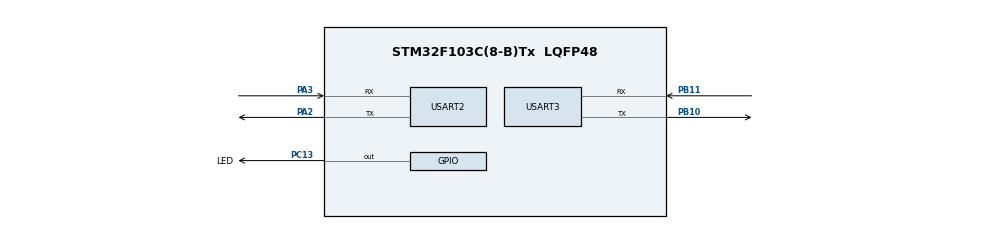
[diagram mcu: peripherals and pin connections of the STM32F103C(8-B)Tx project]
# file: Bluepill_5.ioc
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Dma.Request0=USART3_RX
Dma.USART3_RX.0.Direction=DMA_PERIPH_TO_MEMORY
Dma.USART3_RX.0.Instance=DMA1_Channel3
Dma.USART3_RX.0.MemDataAlignment=DMA_MDATAALIGN_BYTE
Dma.USART3_RX.0.MemInc=DMA_MINC_ENABLE
Dma.USART3_RX.0.Mode=DMA_NORMAL
Dma.USART3_RX.0.PeriphDataAlignment=DMA_PDATAALIGN_BYTE
Dma.USART3_RX.0.PeriphInc=DMA_PINC_DISABLE
Dma.USART3_RX.0.Priority=DMA_PRIORITY_LOW
Mcu.Family=STM32F1
Mcu.Name=STM32F103C(8-B)Tx
Mcu.Package=LQFP48
NVIC.DMA1_Channel3_IRQn=true\:0\:0\:false\:false\:true\:false\:true\:true
NVIC.PriorityGroup=NVIC_PRIORITYGROUP_4
NVIC.TIM3_IRQn=true\:0\:0\:false\:false\:true\:true\:true\:true
PA13.Mode=Serial_Wire
PA13.Signal=SYS_JTMS-SWDIO
PA14.Mode=Serial_Wire
PA14.Signal=SYS_JTCK-SWCLK
PA2.Mode=Asynchronous
PA2.Signal=USART2_TX
PA3.Mode=Asynchronous
PA3.Signal=USART2_RX
PB10.Mode=Asynchronous
PB10.Signal=USART3_TX
PB11.Mode=Asynchronous
PB11.Signal=USART3_RX
PC13-TAMPER-RTC.GPIO_Label=LED
PC13-TAMPER-RTC.GPIO_ModeDefaultOutputPP=GPIO_MODE_OUTPUT_OD
PC13-TAMPER-RTC.GPIO_PuPd=GPIO_PULLUP
PC13-TAMPER-RTC.Signal=GPIO_Output
ProjectManager.HeapSize=0x200
ProjectManager.StackSize=0x400
ProjectManager.TargetToolchain=STM32CubeIDE
RCC.APB1Freq_Value=8000000
RCC.APB2Freq_Value=8000000
TIM3.Period=1000-1
TIM3.Prescaler=800-1
USART2.VirtualMode=VM_ASYNC
USART3.VirtualMode=VM_ASYNC
VP_TIM3_VS_ClockSourceINT.Mode=Internal
board=custom

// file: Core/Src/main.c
/* USER CODE BEGIN Header */
/**
  ******************************************************************************
  * @file           : main.c
  * @brief          : Main program body
  ******************************************************************************
  * @attention
  *
  * Copyright (c) 2025 STMicroelectronics.
  * All rights reserved.
  *
  * This software is licensed under terms that can be found in the LICENSE file
  * in the root directory of this software component.
  * If no LICENSE file comes with this software, it is provided AS-IS.
  *
  ******************************************************************************
  */
/* USER CODE END Header */
#include "main.h"

/* USER CODE BEGIN Includes */
#include<stdio.h>
#include<string.h>
/* USER CODE END Includes */

/* USER CODE BEGIN PD */
#define BUFFER_SIZE 64
/* USER CODE END PD */

TIM_HandleTypeDef htim3;

UART_HandleTypeDef huart2;
UART_HandleTypeDef huart3;
DMA_HandleTypeDef hdma_usart3_rx;

/* USER CODE BEGIN PV */
char transmit_buffer[BUFFER_SIZE];
char recieve_buffer[BUFFER_SIZE];
char dma_buffer[BUFFER_SIZE];
char ack_msg[]="Ack\r\n";
/* USER CODE END PV */

void SystemClock_Config(void);
static void MX_GPIO_Init(void);
static void MX_DMA_Init(void);
static void MX_USART2_UART_Init(void);
static void MX_USART3_UART_Init(void);
static void MX_TIM3_Init(void);

/* USER CODE BEGIN 0 */
void HAL_TIM_PeriodElapsedCallback(TIM_HandleTypeDef *htim){
	if(htim->Instance==TIM3){
		HAL_GPIO_WritePin(LED_GPIO_Port, LED_Pin, GPIO_PIN_SET);
		HAL_TIM_Base_Stop_IT(&htim3);
	}
}

void flash_led(){
	HAL_GPIO_WritePin(LED_GPIO_Port, LED_Pin, GPIO_PIN_RESET);
	if(__HAL_TIM_GET_COUNTER(&htim3)<=1)	HAL_TIM_Base_Start_IT(&htim3);
	else{
		__HAL_TIM_SET_COUNTER(&htim3, 1);
		HAL_TIM_Base_Start_IT(&htim3);
	}

}
void HAL_UARTEx_RxEventCallback(UART_HandleTypeDef *huart, uint16_t Size){
	if(huart->Instance==USART3){
		flash_led();

		memcpy(recieve_buffer, dma_buffer, Size);
		recieve_buffer[Size]='\0';

		HAL_UART_Transmit(&huart3, (uint8_t *)ack_msg, strlen(ack_msg), HAL_MAX_DELAY);

	   HAL_UARTEx_ReceiveToIdle_DMA(&huart3, (uint8_t *)dma_buffer, BUFFER_SIZE);
	}
}

/* USER CODE END 0 */

int main(void)
{

  /* MCU Configuration--------------------------------------------------------*/

  /* Reset of all peripherals, Initializes the Flash interface and the Systick. */
  HAL_Init();

  /* Configure the system clock */
  SystemClock_Config();

  /* Initialize all configured peripherals */
  MX_GPIO_Init();
  MX_DMA_Init();
  MX_USART2_UART_Init();
  MX_USART3_UART_Init();
  MX_TIM3_Init();
  /* USER CODE BEGIN 2 */
  HAL_UARTEx_ReceiveToIdle_DMA(&huart3, (uint8_t *)dma_buffer, BUFFER_SIZE);
  __HAL_DMA_DISABLE_IT(huart3.hdmarx, DMA_IT_HT);  //Disabling the buffer half full interrupt. For Simplicity.

  /* USER CODE END 2 */

  /* Infinite loop */
  /* USER CODE BEGIN WHILE */
  uint32_t now=0, tx_time=1000;
  uint16_t msg_number=1;

  while (1)
  {
	    now = HAL_GetTick();

	    if (now >= tx_time) {
	        sprintf(transmit_buffer, "Message %hu from UART2 using DMA\r\n", msg_number);
	        HAL_UART_Transmit(&huart2, (uint8_t *)transmit_buffer, strlen(transmit_buffer), HAL_MAX_DELAY);
	        tx_time += 1000;
	        msg_number++;
	    }
    /* USER CODE END WHILE */

  }
}

void SystemClock_Config(void)
{
  RCC_OscInitTypeDef RCC_OscInitStruct = {0};
  RCC_ClkInitTypeDef RCC_ClkInitStruct = {0};

  /** Initializes the RCC Oscillators according to the specified parameters
  * in the RCC_OscInitTypeDef structure.
  */
  RCC_OscInitStruct.OscillatorType = RCC_OSCILLATORTYPE_HSI;
  RCC_OscInitStruct.HSIState = RCC_HSI_ON;
  RCC_OscInitStruct.HSICalibrationValue = RCC_HSICALIBRATION_DEFAULT;
  RCC_OscInitStruct.PLL.PLLState = RCC_PLL_NONE;
  if (HAL_RCC_OscConfig(&RCC_OscInitStruct) != HAL_OK)
  {
    Error_Handler();
  }

  /** Initializes the CPU, AHB and APB buses clocks
  */
  RCC_ClkInitStruct.ClockType = RCC_CLOCKTYPE_HCLK|RCC_CLOCKTYPE_SYSCLK
                              |RCC_CLOCKTYPE_PCLK1|RCC_CLOCKTYPE_PCLK2;
  RCC_ClkInitStruct.SYSCLKSource = RCC_SYSCLKSOURCE_HSI;
  RCC_ClkInitStruct.AHBCLKDivider = RCC_SYSCLK_DIV1;
  RCC_ClkInitStruct.APB1CLKDivider = RCC_HCLK_DIV1;
  RCC_ClkInitStruct.APB2CLKDivider = RCC_HCLK_DIV1;

  if (HAL_RCC_ClockConfig(&RCC_ClkInitStruct, FLASH_LATENCY_0) != HAL_OK)
  {
    Error_Handler();
  }
}

static void MX_TIM3_Init(void)
{

  TIM_ClockConfigTypeDef sClockSourceConfig = {0};
  TIM_MasterConfigTypeDef sMasterConfig = {0};

  htim3.Instance = TIM3;
  htim3.Init.Prescaler = 800-1;
  htim3.Init.CounterMode = TIM_COUNTERMODE_UP;
  htim3.Init.Period = 1000-1;
  htim3.Init.ClockDivision = TIM_CLOCKDIVISION_DIV1;
  htim3.Init.AutoReloadPreload = TIM_AUTORELOAD_PRELOAD_DISABLE;
  if (HAL_TIM_Base_Init(&htim3) != HAL_OK)
  {
    Error_Handler();
  }
  sClockSourceConfig.ClockSource = TIM_CLOCKSOURCE_INTERNAL;
  if (HAL_TIM_ConfigClockSource(&htim3, &sClockSourceConfig) != HAL_OK)
  {
    Error_Handler();
  }
  sMasterConfig.MasterOutputTrigger = TIM_TRGO_RESET;
  sMasterConfig.MasterSlaveMode = TIM_MASTERSLAVEMODE_DISABLE;
  if (HAL_TIMEx_MasterConfigSynchronization(&htim3, &sMasterConfig) != HAL_OK)
  {
    Error_Handler();
  }

}

static void MX_USART2_UART_Init(void)
{

  huart2.Instance = USART2;
  huart2.Init.BaudRate = 115200;
  huart2.Init.WordLength = UART_WORDLENGTH_8B;
  huart2.Init.StopBits = UART_STOPBITS_1;
  huart2.Init.Parity = UART_PARITY_NONE;
  huart2.Init.Mode = UART_MODE_TX_RX;
  huart2.Init.HwFlowCtl = UART_HWCONTROL_NONE;
  huart2.Init.OverSampling = UART_OVERSAMPLING_16;
  if (HAL_UART_Init(&huart2) != HAL_OK)
  {
    Error_Handler();
  }

}

static void MX_USART3_UART_Init(void)
{

  huart3.Instance = USART3;
  huart3.Init.BaudRate = 115200;
  huart3.Init.WordLength = UART_WORDLENGTH_8B;
  huart3.Init.StopBits = UART_STOPBITS_1;
  huart3.Init.Parity = UART_PARITY_NONE;
  huart3.Init.Mode = UART_MODE_TX_RX;
  huart3.Init.HwFlowCtl = UART_HWCONTROL_NONE;
  huart3.Init.OverSampling = UART_OVERSAMPLING_16;
  if (HAL_UART_Init(&huart3) != HAL_OK)
  {
    Error_Handler();
  }

}

static void MX_DMA_Init(void)
{

  /* DMA controller clock enable */
  __HAL_RCC_DMA1_CLK_ENABLE();

  /* DMA interrupt init */
  /* DMA1_Channel3_IRQn interrupt configuration */
  HAL_NVIC_SetPriority(DMA1_Channel3_IRQn, 0, 0);
  HAL_NVIC_EnableIRQ(DMA1_Channel3_IRQn);

}

static void MX_GPIO_Init(void)
{
  GPIO_InitTypeDef GPIO_InitStruct = {0};

  /* GPIO Ports Clock Enable */
  __HAL_RCC_GPIOC_CLK_ENABLE();
  __HAL_RCC_GPIOA_CLK_ENABLE();
  __HAL_RCC_GPIOB_CLK_ENABLE();

  /*Configure GPIO pin Output Level */
  HAL_GPIO_WritePin(LED_GPIO_Port, LED_Pin, GPIO_PIN_RESET);

  /*Configure GPIO pin : LED_Pin */
  GPIO_InitStruct.Pin = LED_Pin;
  GPIO_InitStruct.Mode = GPIO_MODE_OUTPUT_OD;
  GPIO_InitStruct.Pull = GPIO_PULLUP;
  GPIO_InitStruct.Speed = GPIO_SPEED_FREQ_LOW;
  HAL_GPIO_Init(LED_GPIO_Port, &GPIO_InitStruct);

}

void Error_Handler(void)
{
  __disable_irq();
  while (1)
  {
  }
}
